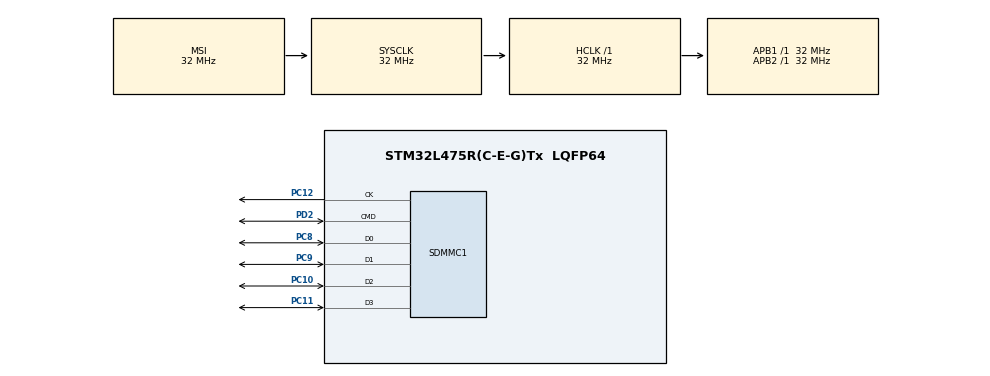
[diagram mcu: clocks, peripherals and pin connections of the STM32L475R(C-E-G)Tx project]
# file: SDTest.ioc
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FATFS._MAX_SS=4096
Mcu.Family=STM32L4
Mcu.Name=STM32L475R(C-E-G)Tx
Mcu.Package=LQFP64
NVIC.PriorityGroup=NVIC_PRIORITYGROUP_4
NVIC.SDMMC1_IRQn=true\:0\:0\:false\:false\:true\:true\:true
PC10.Mode=SD_4_bits_Wide_bus
PC10.Signal=SDMMC1_D2
PC11.Mode=SD_4_bits_Wide_bus
PC11.Signal=SDMMC1_D3
PC12.Mode=SD_4_bits_Wide_bus
PC12.Signal=SDMMC1_CK
PC8.GPIO_PuPd=GPIO_NOPULL
PC8.Mode=SD_4_bits_Wide_bus
PC8.Signal=SDMMC1_D0
PC9.Mode=SD_4_bits_Wide_bus
PC9.Signal=SDMMC1_D1
PD2.GPIO_PuPd=GPIO_NOPULL
PD2.Mode=SD_4_bits_Wide_bus
PD2.Signal=SDMMC1_CMD
ProjectManager.HeapSize=0x200
ProjectManager.StackSize=0x400
ProjectManager.TargetToolchain=TrueSTUDIO
RCC.ADCFreq_Value=128000000
RCC.AHBFreq_Value=32000000
RCC.APB1Freq_Value=32000000
RCC.APB1TimFreq_Value=32000000
RCC.APB2Freq_Value=32000000
RCC.APB2TimFreq_Value=32000000
RCC.CK48CLockSelection=RCC_USBCLKSOURCE_MSI
RCC.CortexFreq_Value=32000000
RCC.HCLKFreq_Value=32000000
RCC.HSE_VALUE=8000000
RCC.HSI_VALUE=16000000
RCC.LSE_VALUE=32768
RCC.MSIClockRange=RCC_MSIRANGE_10
RCC.MSI_VALUE=32000000
RCC.SYSCLKFreq_VALUE=32000000
RCC.USBFreq_Value=32000000
RCC.VCOOutputFreq_Value=256000000
VP_FATFS_VS_SDIO.Mode=SDIO
board=custom

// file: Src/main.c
/* USER CODE BEGIN Header */
/**
  ******************************************************************************
  * @file           : main.c
  * @brief          : Main program body
  ******************************************************************************
  * @attention
  *
  * <h2><center>&copy; Copyright (c) 2019 STMicroelectronics.
  * All rights reserved.</center></h2>
  *
  * This software component is licensed by ST under Ultimate Liberty license
  * SLA0044, the "License"; You may not use this file except in compliance with
  * the License. You may obtain a copy of the License at:
  *                             www.st.com/SLA0044
  *
  ******************************************************************************
  */
/* USER CODE END Header */

#include "main.h"
#include "fatfs.h"

/* USER CODE BEGIN Includes */
//#include "GL.h"

FATFS fileSystem;
FIL texFile;
uint8_t readByte;
volatile uint32_t img;
/* USER CODE END Includes */

SD_HandleTypeDef hsd1;

/* USER CODE BEGIN PV */
/* Private variables ---------------------------------------------------------*/

/* USER CODE END PV */

void SystemClock_Config(void);
static void MX_GPIO_Init(void);
static void MX_SDMMC1_SD_Init(void);
/* USER CODE BEGIN PFP */
/* Private function prototypes -----------------------------------------------*/

/* USER CODE END PFP */

/* USER CODE BEGIN 0 */
volatile uint8_t InfoImg[1024];
int errs[] = {0, 0, 0, 0, 0, 0, 0, 0, 0, 0};
FATFS SDFatFs;  /* File system object for SD card logical drive */
FIL MyFile;     /* File object */
/* USER CODE END 0 */

int main(void)
{

  /* MCU Configuration--------------------------------------------------------*/

  /* Reset of all peripherals, Initializes the Flash interface and the Systick. */
  HAL_Init();

  /* Configure the system clock */
  SystemClock_Config();

  /* Initialize all configured peripherals */
  MX_GPIO_Init();
  MX_SDMMC1_SD_Init();
  MX_FATFS_Init();
  /* USER CODE BEGIN 2 */

  BSP_SD_Init();
  HAL_Delay(200);
  MX_FATFS_Init();

  if(f_mount(&fileSystem, SDPath, 1) == FR_OK)
  {
	  //������� ���
//	  uint8_t FileName[64] = "adr.txt";
//	  volatile uint8_t res;
//	  res = f_open(&texFile, (char *)FileName, FA_READ);
//	  res = f_read(&texFile, InfoImg, 8, &readByte );
//	res = f_close(&texFile);

	  volatile uint8_t res;
	  uint8_t arr[] = {0, 1, 2};
	  uint8_t arrrd[20];
	  uint8_t* bw;
	  res = f_open(&MyFile, "adr.txt", FA_READ|FA_WRITE);
	  res = f_read(&MyFile, arrrd, 10, bw);
	  res = f_write(&MyFile, arr, 3, bw);
	  asm("nop");
  }

  /* USER CODE END 2 */

  /* Infinite loop */
  while (1)
  {

  }
}

void SystemClock_Config(void)
{
  RCC_OscInitTypeDef RCC_OscInitStruct = {0};
  RCC_ClkInitTypeDef RCC_ClkInitStruct = {0};
  RCC_PeriphCLKInitTypeDef PeriphClkInit = {0};

  /** Initializes the CPU, AHB and APB busses clocks
  */
  RCC_OscInitStruct.OscillatorType = RCC_OSCILLATORTYPE_MSI;
  RCC_OscInitStruct.MSIState = RCC_MSI_ON;
  RCC_OscInitStruct.MSICalibrationValue = 0;
  RCC_OscInitStruct.MSIClockRange = RCC_MSIRANGE_10;
  RCC_OscInitStruct.PLL.PLLState = RCC_PLL_NONE;
  if (HAL_RCC_OscConfig(&RCC_OscInitStruct) != HAL_OK)
  {
    Error_Handler();
  }
  /** Initializes the CPU, AHB and APB busses clocks
  */
  RCC_ClkInitStruct.ClockType = RCC_CLOCKTYPE_HCLK|RCC_CLOCKTYPE_SYSCLK
                              |RCC_CLOCKTYPE_PCLK1|RCC_CLOCKTYPE_PCLK2;
  RCC_ClkInitStruct.SYSCLKSource = RCC_SYSCLKSOURCE_MSI;
  RCC_ClkInitStruct.AHBCLKDivider = RCC_SYSCLK_DIV1;
  RCC_ClkInitStruct.APB1CLKDivider = RCC_HCLK_DIV1;
  RCC_ClkInitStruct.APB2CLKDivider = RCC_HCLK_DIV1;

  if (HAL_RCC_ClockConfig(&RCC_ClkInitStruct, FLASH_LATENCY_1) != HAL_OK)
  {
    Error_Handler();
  }
  PeriphClkInit.PeriphClockSelection = RCC_PERIPHCLK_SDMMC1;
  PeriphClkInit.Sdmmc1ClockSelection = RCC_SDMMC1CLKSOURCE_MSI;
  if (HAL_RCCEx_PeriphCLKConfig(&PeriphClkInit) != HAL_OK)
  {
    Error_Handler();
  }
  /** Configure the main internal regulator output voltage
  */
  if (HAL_PWREx_ControlVoltageScaling(PWR_REGULATOR_VOLTAGE_SCALE1) != HAL_OK)
  {
    Error_Handler();
  }
}

static void MX_SDMMC1_SD_Init(void)
{

  hsd1.Instance = SDMMC1;
  hsd1.Init.ClockEdge = SDMMC_CLOCK_EDGE_RISING;
  hsd1.Init.ClockBypass = SDMMC_CLOCK_BYPASS_DISABLE;
  hsd1.Init.ClockPowerSave = SDMMC_CLOCK_POWER_SAVE_DISABLE;
  hsd1.Init.BusWide = SDMMC_BUS_WIDE_1B;
  hsd1.Init.HardwareFlowControl = SDMMC_HARDWARE_FLOW_CONTROL_DISABLE;
  hsd1.Init.ClockDiv = 0;

}

static void MX_GPIO_Init(void)
{

  /* GPIO Ports Clock Enable */
  __HAL_RCC_GPIOC_CLK_ENABLE();
  __HAL_RCC_GPIOD_CLK_ENABLE();

}

void Error_Handler(void)
{
  while(1)
  {
  }
}

/************************ (C) COPYRIGHT STMicroelectronics *****END OF FILE****/
